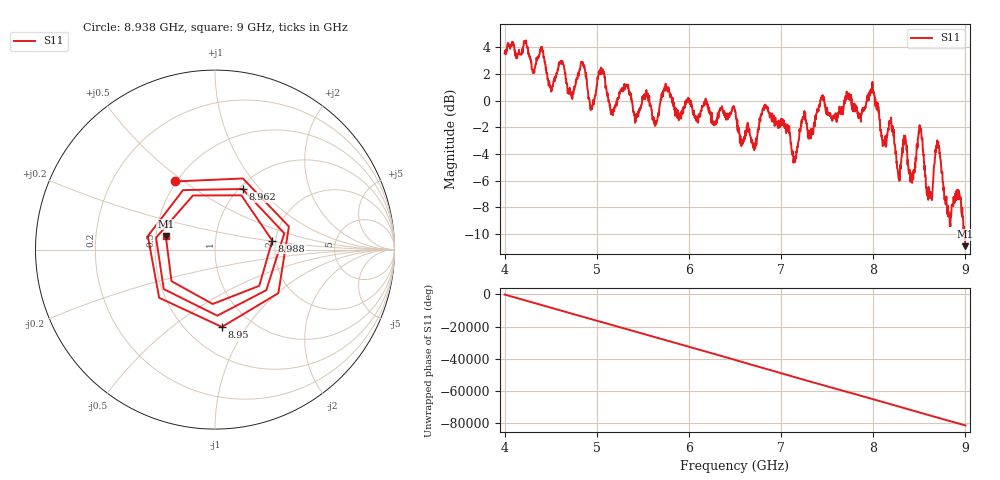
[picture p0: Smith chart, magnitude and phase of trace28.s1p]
! Created with skrf 1.8.0 (http://scikit-rf.org).
# Hz S RI R 50.0
!freq ReS11 ImS11
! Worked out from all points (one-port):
!   1601 points, 4 GHz to 9 GHz, reference 50 ohm
!   lowest |S11| = -10.9 dB at 9 GHz (marker M1), VSWR 1.80, Z = 28.2 + j4.65 ohm
!   |S11| at or under -10 dB: 8.991462 GHz to end of sweep
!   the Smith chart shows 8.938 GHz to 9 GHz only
!   S11 on the Smith chart (normalised r, x): 8.938 GHz: 0.49, +0.46; 8.95 GHz: 0.73, -0.78; 8.962 GHz: 1.04, +0.81; 8.988 GHz: 1.92, +0.22; 9 GHz: 0.56, +0.09
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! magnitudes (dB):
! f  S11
! 4 GHz  3.6
! 4.625 GHz  2.8
! 4.722 GHz  0.6
! 4.85 GHz  2.9
! 4.944 GHz  -0.5
! 5.044 GHz  2.5
! 5.162 GHz  -0.8
! 5.25 GHz  0.5
! 5.875 GHz  -1.3
! 6.5 GHz  -0.7
! 6.712 GHz  -3.4
! 6.838 GHz  -0.4
! 7.125 GHz  -4.1
! 7.444 GHz  0.3
! 7.75 GHz  0.2
! 7.991 GHz  1.4
! 8.112 GHz  -3.0
! 8.375 GHz  -4.5
! 8.425 GHz  -5.5
! 8.509 GHz  -2.0
! 8.612 GHz  -6.8
! 8.7 GHz  -3.3
! 8.822 GHz  -8.7
! 8.938 GHz  -7.1
! 8.95 GHz  -7.3
! 8.962 GHz  -8.6
! 8.988 GHz  -9.8
! 9 GHz  -10.9
